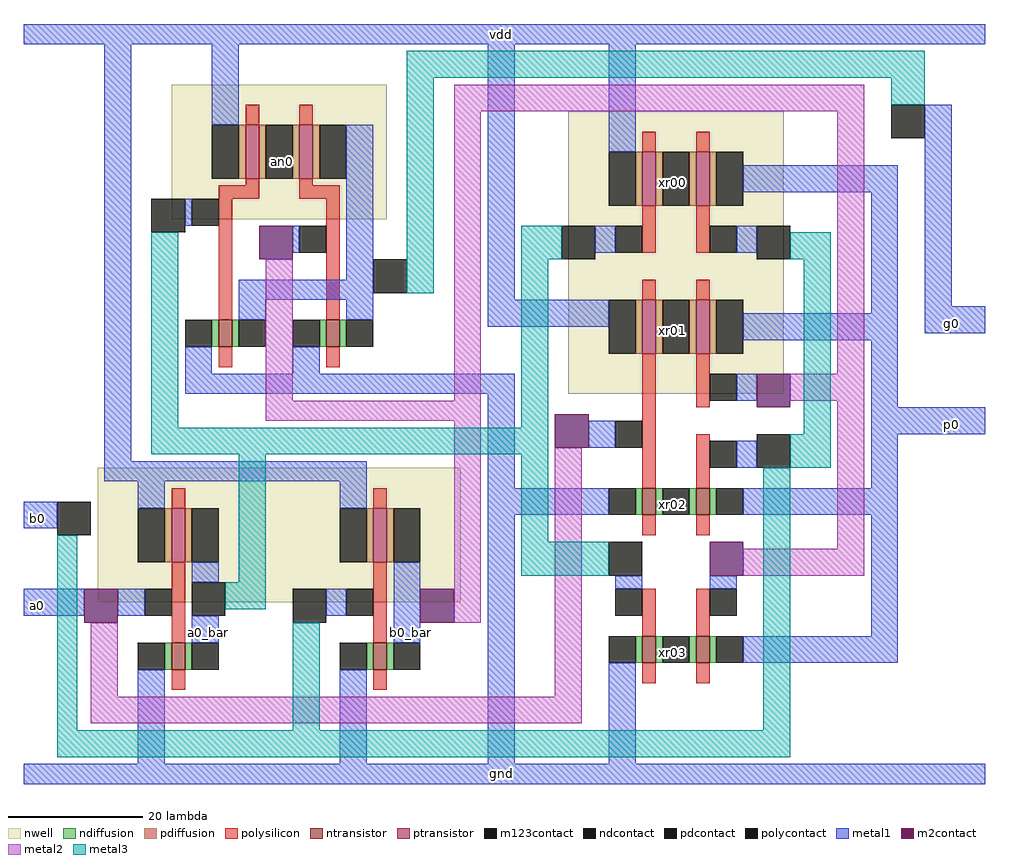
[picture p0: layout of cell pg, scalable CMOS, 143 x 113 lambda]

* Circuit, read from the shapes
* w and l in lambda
.subckt pg a0 a0_bar an0 b0 b0_bar g0 gnd p0 vdd xr00 xr01 xr02 xr03
M1 a0_bar a0 gnd VSUBS nfet w=4 l=2
M2 g0 a0_bar gnd VSUBS nfet w=4 l=2
M3 g0 b0_bar gnd VSUBS nfet w=4 l=2
M4 b0_bar b0 gnd VSUBS nfet w=4 l=2
M5 xr03 a0_bar gnd VSUBS nfet w=4 l=2
M6 xr02 a0 gnd VSUBS nfet w=4 l=2
M7 p0 b0_bar xr03 VSUBS nfet w=4 l=2
M8 p0 b0 xr02 VSUBS nfet w=4 l=2
M9 a0_bar a0 vdd n1 pfet w=8 l=2
M10 an0 a0_bar vdd n2 pfet w=8 l=2
M11 g0 b0_bar an0 n2 pfet w=8 l=2
M12 b0_bar b0 vdd n1 pfet w=8 l=2
M13 xr01 a0 vdd n3 pfet w=8 l=2
M14 xr00 a0_bar vdd n3 pfet w=8 l=2
M15 p0 b0_bar xr01 n3 pfet w=8 l=2
M16 p0 b0 xr00 n3 pfet w=8 l=2
.ends

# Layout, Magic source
magic
tech scmos
<< nwell >>
rect -65 -2 -33 18
rect -6 -28 26 14
rect -76 -59 -22 -39
<< ntransistor >>
rect -58 -21 -56 -17
rect -42 -21 -40 -17
rect 5 -46 7 -42
rect 13 -46 15 -42
rect -65 -69 -63 -65
rect -35 -69 -33 -65
rect 5 -68 7 -64
rect 13 -68 15 -64
<< ptransistor >>
rect -54 4 -52 12
rect -46 4 -44 12
rect 5 0 7 8
rect 13 0 15 8
rect 5 -22 7 -14
rect 13 -22 15 -14
rect -65 -53 -63 -45
rect -35 -53 -33 -45
<< ndiffusion >>
rect -59 -21 -58 -17
rect -56 -21 -55 -17
rect -43 -21 -42 -17
rect -40 -21 -39 -17
rect 4 -46 5 -42
rect 7 -46 8 -42
rect 12 -46 13 -42
rect 15 -46 16 -42
rect -66 -69 -65 -65
rect -63 -69 -62 -65
rect -36 -69 -35 -65
rect -33 -69 -32 -65
rect 4 -68 5 -64
rect 7 -68 8 -64
rect 12 -68 13 -64
rect 15 -68 16 -64
<< pdiffusion >>
rect -55 4 -54 12
rect -52 4 -51 12
rect -47 4 -46 12
rect -44 4 -43 12
rect 4 0 5 8
rect 7 0 8 8
rect 12 0 13 8
rect 15 0 16 8
rect 4 -22 5 -14
rect 7 -22 8 -14
rect 12 -22 13 -14
rect 15 -22 16 -14
rect -66 -53 -65 -45
rect -63 -53 -62 -45
rect -36 -53 -35 -45
rect -33 -53 -32 -45
<< ndcontact >>
rect -63 -21 -59 -17
rect -55 -21 -51 -17
rect -47 -21 -43 -17
rect -39 -21 -35 -17
rect 0 -46 4 -42
rect 8 -46 12 -42
rect 16 -46 20 -42
rect -70 -69 -66 -65
rect -62 -69 -58 -65
rect -40 -69 -36 -65
rect -32 -69 -28 -65
rect 0 -68 4 -64
rect 8 -68 12 -64
rect 16 -68 20 -64
<< pdcontact >>
rect -59 4 -55 12
rect -51 4 -47 12
rect -43 4 -39 12
rect 0 0 4 8
rect 8 0 12 8
rect 16 0 20 8
rect 0 -22 4 -14
rect 8 -22 12 -14
rect 16 -22 20 -14
rect -70 -53 -66 -45
rect -62 -53 -58 -45
rect -40 -53 -36 -45
rect -32 -53 -28 -45
<< polysilicon >>
rect -54 12 -52 15
rect -46 12 -44 15
rect 5 8 7 11
rect 13 8 15 11
rect -54 3 -52 4
rect -58 1 -52 3
rect -46 3 -44 4
rect -46 1 -40 3
rect -58 -17 -56 1
rect -42 -17 -40 1
rect 5 -7 7 0
rect 13 -7 15 0
rect 5 -14 7 -11
rect 13 -14 15 -11
rect -58 -24 -56 -21
rect -42 -24 -40 -21
rect 5 -42 7 -22
rect 13 -30 15 -22
rect 13 -42 15 -34
rect -65 -45 -63 -42
rect -35 -45 -33 -42
rect 5 -49 7 -46
rect 13 -49 15 -46
rect -65 -65 -63 -53
rect -35 -65 -33 -53
rect 5 -64 7 -57
rect 13 -64 15 -57
rect -65 -72 -63 -69
rect -35 -72 -33 -69
rect 5 -71 7 -68
rect 13 -71 15 -68
<< polycontact >>
rect -62 -3 -58 1
rect -46 -7 -42 -3
rect 1 -7 5 -3
rect 15 -7 19 -3
rect 1 -36 5 -32
rect 15 -29 19 -25
rect 15 -39 19 -35
rect -69 -61 -65 -57
rect -39 -61 -35 -57
rect 1 -61 5 -57
rect 15 -61 19 -57
<< metal1 >>
rect -87 24 56 27
rect -75 -38 -71 24
rect -59 12 -55 24
rect -63 -3 -62 1
rect -47 -7 -46 -3
rect -39 -11 -35 12
rect -55 -14 -35 -11
rect -55 -17 -51 -14
rect -39 -17 -35 -14
rect -18 -14 -14 24
rect 0 8 4 24
rect 20 2 43 6
rect -2 -7 1 -3
rect 19 -7 22 -3
rect -18 -18 0 -14
rect -63 -25 -59 -21
rect -47 -25 -43 -21
rect 39 -16 43 2
rect 20 -20 43 -16
rect 47 -15 51 15
rect 47 -19 56 -15
rect -63 -28 -14 -25
rect -75 -41 -36 -38
rect -87 -48 -82 -44
rect -70 -45 -66 -41
rect -40 -45 -36 -41
rect -18 -42 -14 -28
rect 19 -29 22 -25
rect 39 -30 43 -20
rect -3 -36 1 -32
rect 39 -34 56 -30
rect 19 -39 22 -35
rect 39 -42 43 -34
rect -62 -56 -58 -53
rect -87 -61 -78 -57
rect -73 -61 -69 -57
rect -62 -65 -58 -61
rect -42 -61 -39 -57
rect -32 -65 -28 -53
rect -18 -46 0 -42
rect 20 -46 43 -42
rect -70 -83 -66 -69
rect -40 -83 -36 -69
rect -18 -83 -14 -46
rect 1 -57 5 -55
rect 15 -57 19 -55
rect 39 -64 43 -46
rect 20 -68 43 -64
rect 0 -83 4 -68
rect -87 -86 56 -83
<< m2contact >>
rect -52 -8 -47 -3
rect 22 -30 27 -25
rect -8 -36 -3 -31
rect -78 -62 -73 -57
rect -28 -62 -23 -57
rect 15 -55 20 -50
<< metal2 >>
rect -23 14 38 18
rect -51 -29 -47 -8
rect -23 -29 -19 14
rect 34 -25 38 14
rect -51 -32 -19 -29
rect 27 -29 38 -25
rect -23 -62 -19 -32
rect -77 -73 -73 -62
rect -8 -73 -4 -36
rect 34 -51 38 -29
rect 20 -55 38 -51
rect -77 -77 -4 -73
<< m123contact >>
rect -68 -4 -63 1
rect -35 -13 -30 -8
rect -7 -8 -2 -3
rect 22 -8 27 -3
rect 42 10 47 15
rect -82 -49 -77 -44
rect -62 -61 -57 -56
rect -47 -62 -42 -57
rect 22 -39 27 -34
rect 0 -55 5 -50
<< metal3 >>
rect -30 19 47 23
rect -68 -33 -64 -4
rect -30 -13 -26 19
rect 42 15 47 19
rect -13 -8 -7 -3
rect 27 -8 33 -4
rect -13 -33 -9 -8
rect -68 -37 -9 -33
rect 29 -34 33 -8
rect -82 -78 -79 -49
rect -55 -56 -51 -37
rect -13 -50 -9 -37
rect 27 -39 33 -34
rect -13 -55 0 -50
rect -57 -60 -51 -56
rect -47 -78 -43 -62
rect 23 -78 27 -39
rect -82 -82 27 -78
<< labels >>
rlabel metal1 -86 -60 -84 -59 3 a0
rlabel metal1 -86 -47 -84 -46 3 b0
rlabel metal1 -60 -64 -59 -63 1 a0_bar
rlabel metal1 -30 -64 -29 -63 1 b0_bar
rlabel pdcontact -49 6 -48 7 1 an0
rlabel pdcontact 9 3 10 4 1 xr00
rlabel pdcontact 9 -19 10 -18 1 xr01
rlabel ndcontact 9 -45 10 -44 1 xr02
rlabel ndcontact 9 -67 10 -66 1 xr03
rlabel metal1 50 -18 52 -17 1 g0
rlabel metal1 50 -33 52 -32 1 p0
rlabel metal1 -17 -85 -15 -84 1 gnd
rlabel metal1 -17 25 -15 26 5 vdd
<< end >>
